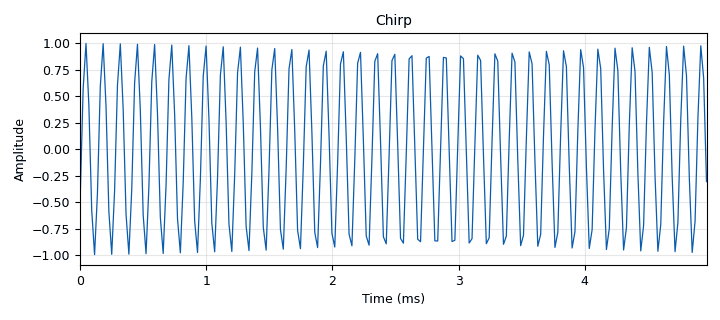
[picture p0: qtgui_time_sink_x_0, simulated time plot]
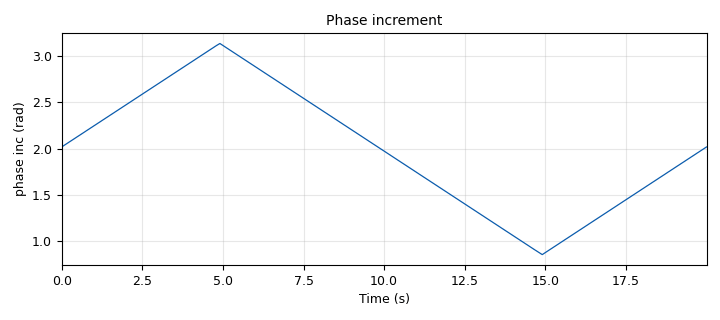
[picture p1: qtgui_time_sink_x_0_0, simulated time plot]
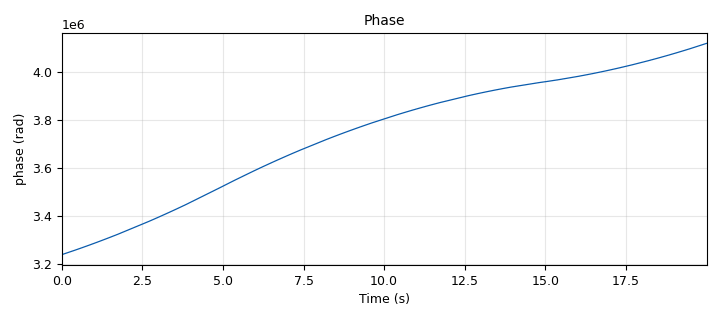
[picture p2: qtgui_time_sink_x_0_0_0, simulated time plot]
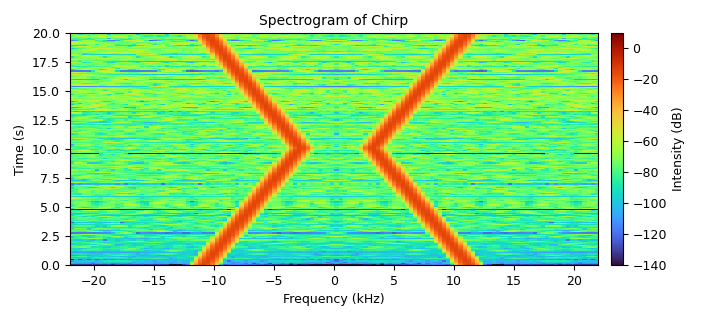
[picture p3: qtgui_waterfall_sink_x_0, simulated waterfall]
<?xml version='1.0' encoding='utf-8'?>
<?grc format='1' created='3.7.11'?>
<flow_graph>
<block>
<key>options</key>
<param><key>id</key><value>tds_generate_chirp</value></param>
<param><key>generate_options</key><value>qt_gui</value></param>
<param><key>title</key><value>TDS Chirp Generation Example</value></param>
</block>
<block>
<key>variable_qtgui_range</key>
<param><key>id</key><value>Tc_sec</value></param>
<param><key>value</key><value>10.0</value></param>
<param><key>gui_hint</key><value>(0, 4, 1, 2)</value></param>
<param><key>label</key><value>Tc (sec)</value></param>
<param><key>orient</key><value>Qt.Horizontal</value></param>
<param><key>start</key><value>1.0</value></param>
<param><key>step</key><value>1.0</value></param>
<param><key>stop</key><value>10.0</value></param>
</block>
<block>
<key>variable</key>
<param><key>id</key><value>chirp_phase_step_rad</value></param>
<param><key>value</key><value>chirp_configuration.calc_chirp_phase_step(f_start_Hz, f_stop_Hz, Tc_sec,float(samp_rate))</value></param>
</block>
<block>
<key>variable</key>
<param><key>id</key><value>f_max</value></param>
<param><key>value</key><value>20e3</value></param>
</block>
<block>
<key>variable</key>
<param><key>id</key><value>f_min</value></param>
<param><key>value</key><value>3e3</value></param>
</block>
<block>
<key>variable_qtgui_range</key>
<param><key>id</key><value>f_start_Hz</value></param>
<param><key>value</key><value>f_min</value></param>
<param><key>gui_hint</key><value>[0, 0, 1, 2]</value></param>
<param><key>label</key><value>Start frequency (Hz)</value></param>
<param><key>orient</key><value>Qt.Horizontal</value></param>
<param><key>start</key><value>f_min</value></param>
<param><key>step</key><value>10</value></param>
<param><key>stop</key><value>f_max</value></param>
</block>
<block>
<key>variable_qtgui_range</key>
<param><key>id</key><value>f_stop_Hz</value></param>
<param><key>value</key><value>11e3</value></param>
<param><key>gui_hint</key><value>[0, 2, 1, 2]</value></param>
<param><key>label</key><value>Stop frequency (Hz)</value></param>
<param><key>orient</key><value>Qt.Horizontal</value></param>
<param><key>start</key><value>f_min</value></param>
<param><key>step</key><value>10</value></param>
<param><key>stop</key><value>f_max</value></param>
</block>
<block>
<key>variable</key>
<param><key>id</key><value>max_volume</value></param>
<param><key>value</key><value>0.2</value></param>
</block>
<block>
<key>variable_qtgui_check_box</key>
<param><key>id</key><value>negate_phase</value></param>
<param><key>value</key><value>1</value></param>
<param><key>false</key><value>1</value></param>
<param><key>gui_hint</key><value>(0, 6, 1, 1)</value></param>
<param><key>label</key><value>Negate Phase</value></param>
<param><key>true</key><value>-1</value></param>
<param><key>type</key><value>int</value></param>
</block>
<block>
<key>variable_qtgui_check_box</key>
<param><key>id</key><value>play_sound</value></param>
<param><key>value</key><value>max_volume</value></param>
<param><key>false</key><value>0</value></param>
<param><key>gui_hint</key><value>(0, 7, 1, 1)</value></param>
<param><key>label</key><value>Play sound</value></param>
<param><key>true</key><value>max_volume</value></param>
<param><key>type</key><value>real</value></param>
</block>
<block>
<key>variable</key>
<param><key>id</key><value>samp_rate</value></param>
<param><key>value</key><value>44100</value></param>
</block>
<block>
<key>analog_sig_source_x</key>
<param><key>id</key><value>analog_sig_source_x_0</value></param>
<param><key>amp</key><value>(chirp_phase_step_rad[-1] - chirp_phase_step_rad[0])*2*negate_phase</value></param>
<param><key>comment</key><value>Phase increment
(in radians)</value></param>
<param><key>freq</key><value>1/Tc_sec*0.5</value></param>
<param><key>offset</key><value>chirp_phase_step_rad[0]*2*negate_phase</value></param>
<param><key>type</key><value>float</value></param>
<param><key>samp_rate</key><value>samp_rate</value></param>
<param><key>waveform</key><value>analog.GR_TRI_WAVE</value></param>
</block>
<block>
<key>audio_sink</key>
<param><key>id</key><value>audio_sink_0</value></param>
<param><key>samp_rate</key><value>samp_rate</value></param>
</block>
<block>
<key>blocks_multiply_const_vxx</key>
<param><key>id</key><value>blocks_multiply_const_vxx_0_0</value></param>
<param><key>comment</key><value>Turn the audio on or off</value></param>
<param><key>const</key><value>play_sound</value></param>
<param><key>type</key><value>float</value></param>
</block>
<block>
<key>blocks_transcendental</key>
<param><key>id</key><value>blocks_transcendental_0</value></param>
<param><key>comment</key><value>Map phase to chirp waveform transform</value></param>
<param><key>name</key><value>sin</value></param>
<param><key>type</key><value>float</value></param>
</block>
<block>
<key>epy_module</key>
<param><key>id</key><value>chirp_configuration</value></param>
<param><key>source_code</key><value># this module will be imported in the into your flowgraph
import numpy as np
import math

def calc_chirp_phase_step(f_start_Hz, f_stop_Hz, Tc_sec,fs):
    ts=1/fs
    total_samples= math.ceil(fs*Tc_sec)
    n = np.arange(0,total_samples, step=(total_samples-1), dtype=np.float64)
    t_sec=n*ts

    #This is the frequency of the chirp over time. We assume linear change in frequency
    chirp_freq_slope_HzPerSec=(f_stop_Hz-f_start_Hz)/Tc_sec

    #Compute the instantaneous frequency which is a linear function
    chirp_instantaneous_freq_Hz=chirp_freq_slope_HzPerSec*t_sec+f_start_Hz
    chirp_instantaneous_angular_freq_radPerSec=2*np.pi*chirp_instantaneous_freq_Hz

    #Since frequency is a change in phase the we can plot it as a phase step
    chirp_phase_step_rad=chirp_instantaneous_angular_freq_radPerSec*ts
    return chirp_phase_step_rad
</value></param>
</block>
<block>
<key>iir_filter_xxx</key>
<param><key>id</key><value>iir_filter_xxx_0</value></param>
<param><key>comment</key><value>Cumulative sum of phase increments
(total phase in radians)</value></param>
<param><key>fftaps</key><value>0.5</value></param>
<param><key>fbtaps</key><value>[1, -1]</value></param>
<param><key>oldstyle</key><value>False</value></param>
<param><key>type</key><value>ffd</value></param>
</block>
<block>
<key>qtgui_time_sink_x</key>
<param><key>id</key><value>qtgui_time_sink_x_0</value></param>
<param><key>autoscale</key><value>True</value></param>
<param><key>gui_hint</key><value>[3,4,1,4]</value></param>
<param><key>legend</key><value>False</value></param>
<param><key>color1</key><value>"blue"</value></param>
<param><key>label1</key><value></value></param>
<param><key>name</key><value>Chirp</value></param>
<param><key>size</key><value>int(samp_rate*0.005)</value></param>
<param><key>srate</key><value>samp_rate</value></param>
<param><key>type</key><value>float</value></param>
</block>
<block>
<key>qtgui_time_sink_x</key>
<param><key>id</key><value>qtgui_time_sink_x_0_0</value></param>
<param><key>autoscale</key><value>True</value></param>
<param><key>gui_hint</key><value>[3,0,1,2]</value></param>
<param><key>legend</key><value>False</value></param>
<param><key>color1</key><value>"blue"</value></param>
<param><key>label1</key><value></value></param>
<param><key>name</key><value>Phase increment</value></param>
<param><key>size</key><value>int(samp_rate*Tc_sec*2)</value></param>
<param><key>srate</key><value>samp_rate</value></param>
<param><key>type</key><value>float</value></param>
<param><key>ylabel</key><value>phase inc (rad)</value></param>
</block>
<block>
<key>qtgui_time_sink_x</key>
<param><key>id</key><value>qtgui_time_sink_x_0_0_0</value></param>
<param><key>autoscale</key><value>True</value></param>
<param><key>entags</key><value>False</value></param>
<param><key>gui_hint</key><value>[3,2,1,2]</value></param>
<param><key>legend</key><value>False</value></param>
<param><key>color1</key><value>"blue"</value></param>
<param><key>label1</key><value></value></param>
<param><key>name</key><value>Phase</value></param>
<param><key>size</key><value>int(samp_rate*Tc_sec*2)</value></param>
<param><key>srate</key><value>samp_rate</value></param>
<param><key>type</key><value>float</value></param>
<param><key>ylabel</key><value>phase (rad)</value></param>
</block>
<block>
<key>qtgui_waterfall_sink_x</key>
<param><key>id</key><value>qtgui_waterfall_sink_x_0</value></param>
<param><key>bw</key><value>samp_rate</value></param>
<param><key>fc</key><value>0</value></param>
<param><key>fftsize</key><value>1024/8</value></param>
<param><key>gui_hint</key><value>[1,0,2,8]</value></param>
<param><key>name</key><value>Spectrogram of Chirp</value></param>
<param><key>showports</key><value>True</value></param>
<param><key>type</key><value>float</value></param>
<param><key>wintype</key><value>firdes.WIN_BLACKMAN_hARRIS</value></param>
</block>
<connection><source_block_id>analog_sig_source_x_0</source_block_id><sink_block_id>iir_filter_xxx_0</sink_block_id><source_key>0</source_key><sink_key>0</sink_key></connection>
<connection><source_block_id>analog_sig_source_x_0</source_block_id><sink_block_id>qtgui_time_sink_x_0_0</sink_block_id><source_key>0</source_key><sink_key>0</sink_key></connection>
<connection><source_block_id>blocks_multiply_const_vxx_0_0</source_block_id><sink_block_id>audio_sink_0</sink_block_id><source_key>0</source_key><sink_key>0</sink_key></connection>
<connection><source_block_id>blocks_transcendental_0</source_block_id><sink_block_id>blocks_multiply_const_vxx_0_0</sink_block_id><source_key>0</source_key><sink_key>0</sink_key></connection>
<connection><source_block_id>blocks_transcendental_0</source_block_id><sink_block_id>qtgui_time_sink_x_0</sink_block_id><source_key>0</source_key><sink_key>0</sink_key></connection>
<connection><source_block_id>blocks_transcendental_0</source_block_id><sink_block_id>qtgui_waterfall_sink_x_0</sink_block_id><source_key>0</source_key><sink_key>0</sink_key></connection>
<connection><source_block_id>iir_filter_xxx_0</source_block_id><sink_block_id>blocks_transcendental_0</sink_block_id><source_key>0</source_key><sink_key>0</sink_key></connection>
<connection><source_block_id>iir_filter_xxx_0</source_block_id><sink_block_id>qtgui_time_sink_x_0_0_0</sink_block_id><source_key>0</source_key><sink_key>0</sink_key></connection>
</flow_graph>
